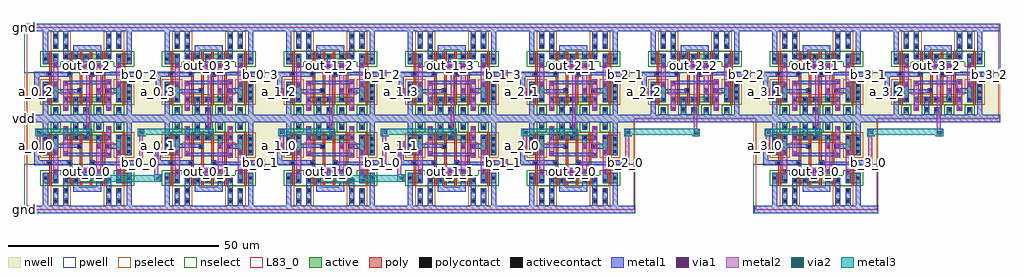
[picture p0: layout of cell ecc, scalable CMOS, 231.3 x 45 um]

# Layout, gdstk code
import gdstk
lib = gdstk.Library(unit=1e-6, precision=1e-09)
def R(c, l, rs):  # rectangles x0, y0, x1, y1
    for r in rs: c.add(gdstk.rectangle(r[:2], r[2:], *l))
def A(c, l, x, y, w, h, nx, ny, dx, dy):  # array of equal rectangles
    R(c, l, [(x+i*dx, y+j*dy, x+i*dx+w, y+j*dy+h) for i in range(nx) for j in range(ny)])
pwell = (41, 0)
nwell = (42, 0)
active = (43, 0)
pselect = (44, 0)
nselect = (45, 0)
poly = (46, 0)
polycontact = (47, 0)
activecontact = (48, 0)
metal1 = (49, 0)
via1 = (50, 0)
metal2 = (51, 0)
via2 = (61, 0)
metal3 = (62, 0)
L83_0 = (83, 0)

xor_2 = lib.new_cell('xor_2')
R(xor_2, pwell, [(0,-0.9,29.7,10.8)])
R(xor_2, nwell, [(0,10.8,29.7,22.5)])
R(xor_2, active, [(6.9,1.5,8.1,2.7), (9.3,1.5,10.5,2.7), (19.5,1.5,20.7,2.7), (21.9,1.5,23.1,2.7), (6.9,3.9,8.1,5.1), (9.3,3.9,10.5,5.1), (19.5,3.9,20.7,5.1), (21.9,3.9,23.1,5.1), (4.5,6.3,8.1,8.7), (9.3,6.3,20.7,7.5), (21.9,6.3,25.5,8.7), (4.5,12.9,8.1,17.7), (21.9,12.9,25.5,17.7), (9.3,16.5,20.7,17.7), (6.9,18.9,8.1,20.1), (11.7,18.9,12.9,20.1), (14.1,18.9,15.3,20.1), (17.1,18.9,18.3,20.1), (21.9,18.9,23.1,20.1)])
R(xor_2, pselect, [(6.3,0.9,11.1,5.7), (18.9,0.9,23.7,5.7), (3.9,12.3,8.7,15.9), (21.3,12.3,26.1,15.9), (3.9,15.9,26.1,18.3)])
R(xor_2, nselect, [(3.9,5.7,26.1,8.1), (3.9,8.1,8.7,9.3), (21.3,8.1,26.1,9.3), (6.3,18.3,8.7,20.7), (11.1,18.3,15.9,20.7), (16.5,18.3,18.9,20.7), (21.3,18.3,23.7,20.7)])
A(xor_2, poly, 6, 5.7, 0.6, 4.8, 3, 1, 4.8, 0)
A(xor_2, poly, 6, 11.7, 0.6, 6.6, 3, 1, 4.8, 0)
R(xor_2, poly, [(13.2,5.7,13.8,14.4), (18.6,5.7,19.2,14.4), (23.4,5.7,24,10.5), (5.4,10.5,6.6,11.7), (10.2,10.5,11.4,11.7), (15.6,10.5,16.8,11.7), (23.4,10.5,25.2,11.7), (23.4,11.7,24,18.3), (12.6,14.4,13.8,15.6), (18.6,14.4,20.4,15.6), (13.2,15.6,13.8,18.3), (18.6,15.6,19.2,18.3)])
R(xor_2, polycontact, [(5.7,10.8,6.3,11.4), (10.5,10.8,11.1,11.4), (15.9,10.8,16.5,11.4), (24.3,10.8,24.9,11.4), (12.9,14.7,13.5,15.3), (19.5,14.7,20.1,15.3)])
A(xor_2, activecontact, 7.2, 6.6, 0.6, 0.6, 4, 2, 2.4, 10.2)
A(xor_2, activecontact, 17.4, 6.6, 0.6, 0.6, 3, 2, 2.4, 10.2)
A(xor_2, activecontact, 4.8, 13.5, 0.6, 0.6, 1, 3, 0, 1.5)
A(xor_2, activecontact, 24.6, 13.5, 0.6, 0.6, 1, 3, 0, 1.5)
R(xor_2, activecontact, [(7.2,1.8,7.8,2.4), (9.6,1.8,10.2,2.4), (19.8,1.8,20.4,2.4), (22.2,1.8,22.8,2.4), (7.2,4.2,7.8,4.8), (9.6,4.2,10.2,4.8), (19.8,4.2,20.4,4.8), (22.2,4.2,22.8,4.8), (4.8,7.2,5.4,7.8), (24.6,7.2,25.2,7.8), (7.2,19.2,7.8,19.8), (12,19.2,12.6,19.8), (14.4,19.2,15,19.8), (17.4,19.2,18,19.8), (22.2,19.2,22.8,19.8)])
R(xor_2, metal1, [(0.3,-0.9,29.7,0.9), (0.3,-0.9,29.7,0.9), (4.5,0.9,5.7,8.7), (6.9,0.9,8.1,5.1), (9.3,0.9,10.5,7.5), (19.5,0.9,20.7,7.5), (21.9,0.9,23.1,5.1), (24.3,0.9,25.5,8.7), (11.7,4.2,18.3,5.4), (11.7,5.4,12.9,7.5), (17.1,5.4,18.3,7.5), (6.9,6.3,8.1,9.6), (14.1,6.3,15.3,8.4), (21.9,6.3,23.1,9.6), (14.1,8.4,18.3,9.6), (2.4,10.5,11.4,11.7), (15.6,10.5,27.9,11.4), (15.6,11.4,16.8,11.7), (24,11.4,27.9,11.7), (2.4,11.7,3.6,15.9), (19.5,12.3,20.7,12.6), (9.3,12.6,20.7,13.5), (4.5,12.9,5.7,20.7), (6.9,12.9,8.1,14.7), (21.9,12.9,23.1,14.4), (24.3,12.9,25.5,20.7), (9.3,13.5,10.5,13.8), (12.6,14.4,13.8,14.7), (17.1,14.4,18.3,17.7), (19.2,14.4,23.1,15.6), (6.9,14.7,13.8,15.6), (6.9,15.6,8.1,17.7), (21.9,15.6,23.1,17.7), (9.3,16.5,10.5,19.8), (11.7,16.5,12.9,20.7), (14.1,16.5,15.3,17.7), (19.5,16.5,20.7,19.8), (6.9,18.9,8.1,20.7), (14.1,18.9,15.3,20.7), (17.1,18.9,18.3,20.7), (21.9,18.9,23.1,20.7), (0.3,20.7,29.7,22.5), (0.3,20.7,29.7,22.5)])
R(xor_2, via1, [(7.2,8.7,7.8,9.3), (14.4,8.7,15,9.3), (17.4,8.7,18,9.3), (22.2,8.7,22.8,9.3), (27,10.8,27.6,11.4), (19.8,12.6,20.4,13.2), (9.6,12.9,10.2,13.5), (7.2,13.2,7.8,13.8), (22.2,13.2,22.8,13.8), (17.4,14.7,18,15.3), (2.7,15,3.3,15.6), (9.6,18.9,10.2,19.5), (19.8,18.9,20.4,19.5)])
R(xor_2, metal2, [(13.8,8.1,15.6,9.9), (13.8,8.1,15.6,9.9), (6.9,8.4,8.1,14.1), (17.1,8.4,18.3,15.6), (21.9,8.4,23.1,14.1), (26.4,10.2,28.2,12), (26.4,10.2,28.2,12), (19.5,12.3,20.7,19.8), (9.3,12.6,10.5,19.8), (2.1,14.4,3.9,16.2), (2.1,14.4,3.9,16.2)])
R(xor_2, L83_0, [(0.6,0,29.4,21.6)])
xor_2.add(gdstk.Label('gnd', (2.1,0.9), layer=49, texttype=0))
xor_2.add(gdstk.Label('vdd', (2.1,22.5), layer=49, texttype=0))
xor_2.add(gdstk.Label('a', (2.1,14.4), layer=51, texttype=0))
xor_2.add(gdstk.Label('b', (26.4,10.2), layer=51, texttype=0))
xor_2.add(gdstk.Label('out', (13.8,8.1), layer=51, texttype=0))
xor_2.add(gdstk.Label('a', (2.1,14.4), layer=51, texttype=0))
xor_2.add(gdstk.Label('b', (26.4,10.2), layer=51, texttype=0))
xor_2.add(gdstk.Label('vdd', (0.3,20.7), layer=49, texttype=0))
xor_2.add(gdstk.Label('gnd', (0.3,-0.9), layer=49, texttype=0))
xor_2.add(gdstk.Label('out', (13.8,8.1), layer=51, texttype=0))

metal3_via2_metal2_1x1 = lib.new_cell('metal3_via2_metal2_1x1')
R(metal3_via2_metal2_1x1, metal2, [(0.3,0.3,1.5,1.5)])
R(metal3_via2_metal2_1x1, via2, [(0.6,0.6,1.2,1.2)])
R(metal3_via2_metal2_1x1, metal3, [(0,0,1.8,1.8)])

ecc = lib.new_cell('ecc')
R(ecc, metal2, [(13.8,118.2,14.7,120.6), (13.8,118.2,14.7,120.6), (30.9,118.2,31.8,126.9), (30.9,118.2,31.8,126.9), (71.4,118.2,72.3,120.6), (71.4,118.2,72.3,120.6), (88.5,118.2,89.4,126.9), (88.5,118.2,89.4,126.9), (27.3,122.7,28.2,129.3), (27.3,122.7,28.2,129.3), (84.9,122.7,85.8,129.3), (84.9,122.7,85.8,129.3), (142.5,122.7,143.4,129.3), (142.5,122.7,143.4,129.3), (200.1,122.7,201,129.3), (200.1,122.7,201,129.3), (3,126.9,3.9,129.3), (3,126.9,3.9,129.3), (60.6,126.9,61.5,129.3), (60.6,126.9,61.5,129.3), (118.2,126.9,119.1,129.3), (118.2,126.9,119.1,129.3), (175.8,126.9,176.7,129.3), (175.8,126.9,176.7,129.3), (14.7,129.3,15.6,145.8), (14.7,129.3,15.6,145.8), (43.5,129.3,44.4,145.8), (43.5,129.3,44.4,145.8), (72.3,129.3,73.2,145.8), (72.3,129.3,73.2,145.8), (101.1,129.3,102,145.8), (101.1,129.3,102,145.8), (129.9,129.3,130.8,145.8), (129.9,129.3,130.8,145.8), (158.7,129.3,159.6,145.8), (158.7,129.3,159.6,145.8), (187.5,129.3,188.4,145.8), (187.5,129.3,188.4,145.8), (216.3,129.3,217.2,145.8), (216.3,129.3,217.2,145.8)])
R(ecc, metal3, [(13.8,118.2,30.9,119.7), (13.8,118.2,30.9,119.7), (71.4,118.2,88.5,119.7), (71.4,118.2,88.5,119.7), (3,129.3,14.7,130.8), (3,129.3,14.7,130.8), (27.3,129.3,43.5,130.8), (27.3,129.3,43.5,130.8), (60.6,129.3,72.3,130.8), (60.6,129.3,72.3,130.8), (84.9,129.3,101.1,130.8), (84.9,129.3,101.1,130.8), (118.2,129.3,129.9,130.8), (118.2,129.3,129.9,130.8), (142.5,129.3,158.7,130.8), (142.5,129.3,158.7,130.8), (175.8,129.3,187.5,130.8), (175.8,129.3,187.5,130.8), (200.1,129.3,216.3,130.8), (200.1,129.3,216.3,130.8)])
ecc.add(gdstk.Reference(xor_2, (0,111.6)))
ecc.add(gdstk.Reference(xor_2, (28.8,111.6)))
ecc.add(gdstk.Reference(xor_2, (0,154.8), x_reflection=True))
ecc.add(gdstk.Reference(xor_2, (28.8,154.8), x_reflection=True))
ecc.add(gdstk.Reference(xor_2, (57.6,111.6)))
ecc.add(gdstk.Reference(xor_2, (86.4,111.6)))
ecc.add(gdstk.Reference(xor_2, (57.6,154.8), x_reflection=True))
ecc.add(gdstk.Reference(xor_2, (86.4,154.8), x_reflection=True))
ecc.add(gdstk.Reference(xor_2, (115.2,111.6)))
ecc.add(gdstk.Reference(xor_2, (115.2,154.8), x_reflection=True))
ecc.add(gdstk.Reference(xor_2, (144,154.8), x_reflection=True))
ecc.add(gdstk.Reference(xor_2, (172.8,111.6)))
ecc.add(gdstk.Reference(xor_2, (172.8,154.8), x_reflection=True))
ecc.add(gdstk.Reference(xor_2, (201.6,154.8), x_reflection=True))
ecc.add(gdstk.Reference(metal3_via2_metal2_1x1, (14.4,129)))
ecc.add(gdstk.Reference(metal3_via2_metal2_1x1, (2.7,129)))
ecc.add(gdstk.Reference(metal3_via2_metal2_1x1, (43.2,129)))
ecc.add(gdstk.Reference(metal3_via2_metal2_1x1, (27,129)))
ecc.add(gdstk.Reference(metal3_via2_metal2_1x1, (72,129)))
ecc.add(gdstk.Reference(metal3_via2_metal2_1x1, (60.3,129)))
ecc.add(gdstk.Reference(metal3_via2_metal2_1x1, (100.8,129)))
ecc.add(gdstk.Reference(metal3_via2_metal2_1x1, (84.6,129)))
ecc.add(gdstk.Reference(metal3_via2_metal2_1x1, (129.6,129)))
ecc.add(gdstk.Reference(metal3_via2_metal2_1x1, (117.9,129)))
ecc.add(gdstk.Reference(metal3_via2_metal2_1x1, (158.4,129)))
ecc.add(gdstk.Reference(metal3_via2_metal2_1x1, (142.2,129)))
ecc.add(gdstk.Reference(metal3_via2_metal2_1x1, (187.2,129)))
ecc.add(gdstk.Reference(metal3_via2_metal2_1x1, (175.5,129)))
ecc.add(gdstk.Reference(metal3_via2_metal2_1x1, (216,129)))
ecc.add(gdstk.Reference(metal3_via2_metal2_1x1, (199.8,129)))
ecc.add(gdstk.Reference(metal3_via2_metal2_1x1, (13.8,118.2)))
ecc.add(gdstk.Reference(metal3_via2_metal2_1x1, (30.9,118.2)))
ecc.add(gdstk.Reference(metal3_via2_metal2_1x1, (71.4,118.2)))
ecc.add(gdstk.Reference(metal3_via2_metal2_1x1, (88.5,118.2)))
ecc.add(gdstk.Reference(xor_2, (0,111.6)))
ecc.add(gdstk.Reference(xor_2, (28.8,111.6)))
ecc.add(gdstk.Reference(xor_2, (0,154.8), x_reflection=True))
ecc.add(gdstk.Reference(xor_2, (28.8,154.8), x_reflection=True))
ecc.add(gdstk.Reference(xor_2, (57.6,111.6)))
ecc.add(gdstk.Reference(xor_2, (86.4,111.6)))
ecc.add(gdstk.Reference(xor_2, (57.6,154.8), x_reflection=True))
ecc.add(gdstk.Reference(xor_2, (86.4,154.8), x_reflection=True))
ecc.add(gdstk.Reference(xor_2, (115.2,111.6)))
ecc.add(gdstk.Reference(xor_2, (115.2,154.8), x_reflection=True))
ecc.add(gdstk.Reference(xor_2, (144,154.8), x_reflection=True))
ecc.add(gdstk.Reference(xor_2, (172.8,111.6)))
ecc.add(gdstk.Reference(xor_2, (172.8,154.8), x_reflection=True))
ecc.add(gdstk.Reference(xor_2, (201.6,154.8), x_reflection=True))
ecc.add(gdstk.Reference(metal3_via2_metal2_1x1, (14.4,129)))
ecc.add(gdstk.Reference(metal3_via2_metal2_1x1, (2.7,129)))
ecc.add(gdstk.Reference(metal3_via2_metal2_1x1, (43.2,129)))
ecc.add(gdstk.Reference(metal3_via2_metal2_1x1, (27,129)))
ecc.add(gdstk.Reference(metal3_via2_metal2_1x1, (72,129)))
ecc.add(gdstk.Reference(metal3_via2_metal2_1x1, (60.3,129)))
ecc.add(gdstk.Reference(metal3_via2_metal2_1x1, (100.8,129)))
ecc.add(gdstk.Reference(metal3_via2_metal2_1x1, (84.6,129)))
ecc.add(gdstk.Reference(metal3_via2_metal2_1x1, (129.6,129)))
ecc.add(gdstk.Reference(metal3_via2_metal2_1x1, (117.9,129)))
ecc.add(gdstk.Reference(metal3_via2_metal2_1x1, (158.4,129)))
ecc.add(gdstk.Reference(metal3_via2_metal2_1x1, (142.2,129)))
ecc.add(gdstk.Reference(metal3_via2_metal2_1x1, (187.2,129)))
ecc.add(gdstk.Reference(metal3_via2_metal2_1x1, (175.5,129)))
ecc.add(gdstk.Reference(metal3_via2_metal2_1x1, (216,129)))
ecc.add(gdstk.Reference(metal3_via2_metal2_1x1, (199.8,129)))
ecc.add(gdstk.Reference(metal3_via2_metal2_1x1, (13.8,118.2)))
ecc.add(gdstk.Reference(metal3_via2_metal2_1x1, (30.9,118.2)))
ecc.add(gdstk.Reference(metal3_via2_metal2_1x1, (71.4,118.2)))
ecc.add(gdstk.Reference(metal3_via2_metal2_1x1, (88.5,118.2)))
ecc.add(gdstk.Label('a_0_0', (3,126.9), layer=51, texttype=0))
ecc.add(gdstk.Label('b_0_0', (27.3,122.7), layer=51, texttype=0))
ecc.add(gdstk.Label('out_0_0', (14.7,120.6), layer=51, texttype=0))
ecc.add(gdstk.Label('a_0_1', (31.8,126.9), layer=51, texttype=0))
ecc.add(gdstk.Label('b_0_1', (56.1,122.7), layer=51, texttype=0))
ecc.add(gdstk.Label('out_0_1', (43.5,120.6), layer=51, texttype=0))
ecc.add(gdstk.Label('a_0_2', (3,139.5), layer=51, texttype=0))
ecc.add(gdstk.Label('b_0_2', (27.3,143.7), layer=51, texttype=0))
ecc.add(gdstk.Label('out_0_2', (14.7,145.8), layer=51, texttype=0))
ecc.add(gdstk.Label('a_0_3', (31.8,139.5), layer=51, texttype=0))
ecc.add(gdstk.Label('b_0_3', (56.1,143.7), layer=51, texttype=0))
ecc.add(gdstk.Label('out_0_3', (43.5,145.8), layer=51, texttype=0))
ecc.add(gdstk.Label('a_1_0', (60.6,126.9), layer=51, texttype=0))
ecc.add(gdstk.Label('b_1_0', (84.9,122.7), layer=51, texttype=0))
ecc.add(gdstk.Label('out_1_0', (72.3,120.6), layer=51, texttype=0))
ecc.add(gdstk.Label('a_1_1', (89.4,126.9), layer=51, texttype=0))
ecc.add(gdstk.Label('b_1_1', (113.7,122.7), layer=51, texttype=0))
ecc.add(gdstk.Label('out_1_1', (101.1,120.6), layer=51, texttype=0))
ecc.add(gdstk.Label('a_1_2', (60.6,139.5), layer=51, texttype=0))
ecc.add(gdstk.Label('b_1_2', (84.9,143.7), layer=51, texttype=0))
ecc.add(gdstk.Label('out_1_2', (72.3,145.8), layer=51, texttype=0))
ecc.add(gdstk.Label('a_1_3', (89.4,139.5), layer=51, texttype=0))
ecc.add(gdstk.Label('b_1_3', (113.7,143.7), layer=51, texttype=0))
ecc.add(gdstk.Label('out_1_3', (101.1,145.8), layer=51, texttype=0))
ecc.add(gdstk.Label('a_2_0', (118.2,126.9), layer=51, texttype=0))
ecc.add(gdstk.Label('b_2_0', (142.5,122.7), layer=51, texttype=0))
ecc.add(gdstk.Label('out_2_0', (129.9,120.6), layer=51, texttype=0))
ecc.add(gdstk.Label('a_2_1', (118.2,139.5), layer=51, texttype=0))
ecc.add(gdstk.Label('b_2_1', (142.5,143.7), layer=51, texttype=0))
ecc.add(gdstk.Label('out_2_1', (129.9,145.8), layer=51, texttype=0))
ecc.add(gdstk.Label('a_2_2', (147,139.5), layer=51, texttype=0))
ecc.add(gdstk.Label('b_2_2', (171.3,143.7), layer=51, texttype=0))
ecc.add(gdstk.Label('out_2_2', (158.7,145.8), layer=51, texttype=0))
ecc.add(gdstk.Label('a_3_0', (175.8,126.9), layer=51, texttype=0))
ecc.add(gdstk.Label('b_3_0', (200.1,122.7), layer=51, texttype=0))
ecc.add(gdstk.Label('out_3_0', (187.5,120.6), layer=51, texttype=0))
ecc.add(gdstk.Label('a_3_1', (175.8,139.5), layer=51, texttype=0))
ecc.add(gdstk.Label('b_3_1', (200.1,143.7), layer=51, texttype=0))
ecc.add(gdstk.Label('out_3_1', (187.5,145.8), layer=51, texttype=0))
ecc.add(gdstk.Label('a_3_2', (204.6,139.5), layer=51, texttype=0))
ecc.add(gdstk.Label('b_3_2', (228.9,143.7), layer=51, texttype=0))
ecc.add(gdstk.Label('out_3_2', (216.3,145.8), layer=51, texttype=0))
ecc.add(gdstk.Label('gnd', (0,111.6), layer=49, texttype=0))
ecc.add(gdstk.Label('vdd', (0,133.2), layer=49, texttype=0))
ecc.add(gdstk.Label('gnd', (0,154.8), layer=49, texttype=0))
ecc.add(gdstk.Label('a_0_0', (3,126.9), layer=51, texttype=0))
ecc.add(gdstk.Label('b_0_0', (27.3,122.7), layer=51, texttype=0))
ecc.add(gdstk.Label('out_0_0', (14.7,120.6), layer=51, texttype=0))
ecc.add(gdstk.Label('a_0_1', (31.8,126.9), layer=51, texttype=0))
ecc.add(gdstk.Label('b_0_1', (56.1,122.7), layer=51, texttype=0))
ecc.add(gdstk.Label('out_0_1', (43.5,120.6), layer=51, texttype=0))
ecc.add(gdstk.Label('a_0_2', (3,139.5), layer=51, texttype=0))
ecc.add(gdstk.Label('b_0_2', (27.3,143.7), layer=51, texttype=0))
ecc.add(gdstk.Label('out_0_2', (14.7,145.8), layer=51, texttype=0))
ecc.add(gdstk.Label('a_0_3', (31.8,139.5), layer=51, texttype=0))
ecc.add(gdstk.Label('b_0_3', (56.1,143.7), layer=51, texttype=0))
ecc.add(gdstk.Label('out_0_3', (43.5,145.8), layer=51, texttype=0))
ecc.add(gdstk.Label('a_1_0', (60.6,126.9), layer=51, texttype=0))
ecc.add(gdstk.Label('b_1_0', (84.9,122.7), layer=51, texttype=0))
ecc.add(gdstk.Label('out_1_0', (72.3,120.6), layer=51, texttype=0))
ecc.add(gdstk.Label('a_1_1', (89.4,126.9), layer=51, texttype=0))
ecc.add(gdstk.Label('b_1_1', (113.7,122.7), layer=51, texttype=0))
ecc.add(gdstk.Label('out_1_1', (101.1,120.6), layer=51, texttype=0))
ecc.add(gdstk.Label('a_1_2', (60.6,139.5), layer=51, texttype=0))
ecc.add(gdstk.Label('b_1_2', (84.9,143.7), layer=51, texttype=0))
ecc.add(gdstk.Label('out_1_2', (72.3,145.8), layer=51, texttype=0))
ecc.add(gdstk.Label('a_1_3', (89.4,139.5), layer=51, texttype=0))
ecc.add(gdstk.Label('b_1_3', (113.7,143.7), layer=51, texttype=0))
ecc.add(gdstk.Label('out_1_3', (101.1,145.8), layer=51, texttype=0))
ecc.add(gdstk.Label('a_2_0', (118.2,126.9), layer=51, texttype=0))
ecc.add(gdstk.Label('b_2_0', (142.5,122.7), layer=51, texttype=0))
ecc.add(gdstk.Label('out_2_0', (129.9,120.6), layer=51, texttype=0))
ecc.add(gdstk.Label('a_2_1', (118.2,139.5), layer=51, texttype=0))
ecc.add(gdstk.Label('b_2_1', (142.5,143.7), layer=51, texttype=0))
ecc.add(gdstk.Label('out_2_1', (129.9,145.8), layer=51, texttype=0))
ecc.add(gdstk.Label('a_2_2', (147,139.5), layer=51, texttype=0))
ecc.add(gdstk.Label('b_2_2', (171.3,143.7), layer=51, texttype=0))
ecc.add(gdstk.Label('out_2_2', (158.7,145.8), layer=51, texttype=0))
ecc.add(gdstk.Label('a_3_0', (175.8,126.9), layer=51, texttype=0))
ecc.add(gdstk.Label('b_3_0', (200.1,122.7), layer=51, texttype=0))
ecc.add(gdstk.Label('out_3_0', (187.5,120.6), layer=51, texttype=0))
ecc.add(gdstk.Label('a_3_1', (175.8,139.5), layer=51, texttype=0))
ecc.add(gdstk.Label('b_3_1', (200.1,143.7), layer=51, texttype=0))
ecc.add(gdstk.Label('out_3_1', (187.5,145.8), layer=51, texttype=0))
ecc.add(gdstk.Label('a_3_2', (204.6,139.5), layer=51, texttype=0))
ecc.add(gdstk.Label('b_3_2', (228.9,143.7), layer=51, texttype=0))
ecc.add(gdstk.Label('out_3_2', (216.3,145.8), layer=51, texttype=0))
ecc.add(gdstk.Label('gnd', (0,111.6), layer=49, texttype=0))
ecc.add(gdstk.Label('vdd', (0,133.2), layer=49, texttype=0))
ecc.add(gdstk.Label('gnd', (0,154.8), layer=49, texttype=0))

lib.write_gds('ecc.gds')
